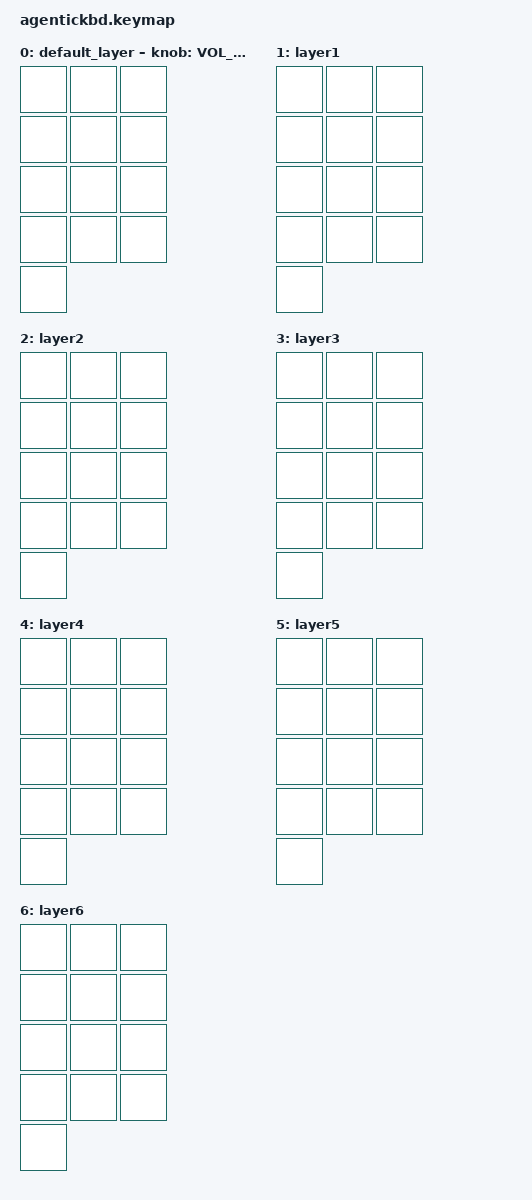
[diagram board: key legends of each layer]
// This file was generated from a template. Edit it to match your keyboard.
// See https://zmk.dev/docs/development/hardware-integration/new-shield for more instructions.

#include <behaviors.dtsi>
#include <dt-bindings/zmk/keys.h>

/ {
    behaviors {
        rot_kp: sensor_rotate_kp {
            compatible = "zmk,behavior-sensor-rotate-var";
            #sensor-binding-cells = <2>;
            bindings = <&kp>, <&kp>;
        };
    };
    // Define a default keymap here.
    // See https://zmk.dev/docs/development/hardware-integration/new-shield#default-keymap.
    keymap {
        compatible = "zmk,keymap";

        default_layer {
            bindings = <
                &none &none &none
                &none &none &none
                &none &none &none
                &none &none &none
                &none
            >;
            sensor-bindings = <&rot_kp C_VOL_UP C_VOL_DN>;
        };

        layer1 {
            bindings = <
                &none &none &none
                &none &none &none
                &none &none &none
                &none &none &none
                &none
            >;
        };

        layer2 {
            bindings = <
                &none &none &none
                &none &none &none
                &none &none &none
                &none &none &none
                &none
            >;
        };

        layer3 {
            bindings = <
                &none &none &none
                &none &none &none
                &none &none &none
                &none &none &none
                &none
            >;
        };

        layer4 {
            bindings = <
                &none &none &none
                &none &none &none
                &none &none &none
                &none &none &none
                &none
            >;
        };

        layer5 {
            bindings = <
                &none &none &none
                &none &none &none
                &none &none &none
                &none &none &none
                &none
            >;
        };

        layer6 {
            bindings = <
                &none &none &none
                &none &none &none
                &none &none &none
                &none &none &none
                &none
            >;
        };
    };
};
